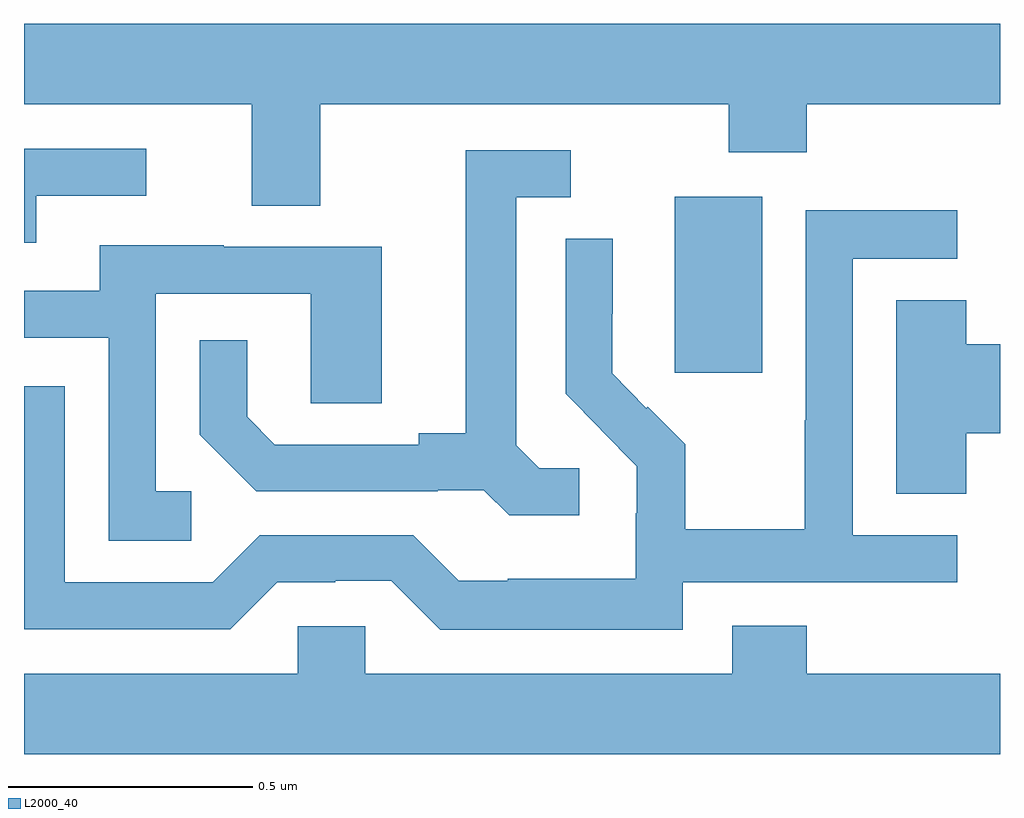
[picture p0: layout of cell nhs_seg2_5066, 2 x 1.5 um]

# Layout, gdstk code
import gdstk
lib = gdstk.Library(unit=1e-6, precision=1e-09)
def R(c, l, rs):  # rectangles x0, y0, x1, y1
    for r in rs: c.add(gdstk.rectangle(r[:2], r[2:], *l))
def P(c, l, *ps):  # polygons
    for p in ps: c.add(gdstk.Polygon(p, *l))
L2000_40 = (2000, 40)

nhs_seg2_5066 = lib.new_cell('nhs_seg2_5066')
R(nhs_seg2_5066, L2000_40, [(175.334,637.761,175.513,638.122)])
P(nhs_seg2_5066, L2000_40, [(174.607,638.312),(175.444,638.312),(175.444,638.213),(175.604,638.213),(175.604,638.312),(176,638.312),(176,638.476),(174,638.476),(174,638.312),(174.467,638.312),(174.467,638.104),(174.607,638.104)],
  [(174.025,638.124),(174.25,638.124),(174.25,638.22),(174,638.22),(174,638.028),(174.025,638.028)],
  [(175.138,637.566),(175.056,637.566),(175.009,637.613),(175.009,638.121),(175.12,638.121),(175.12,638.217),(174.905,638.217),(174.905,637.637),(174.809,637.637),(174.809,637.614),(174.514,637.614),(174.457,637.671),(174.457,637.828),(174.36,637.828),(174.36,637.634),(174.476,637.518),(174.848,637.518),(174.848,637.521),(174.942,637.521),(174.994,637.469),(175.138,637.469)],
  [(175.35,637.332),(175.912,637.332),(175.912,637.428),(175.698,637.428),(175.698,637.995),(175.912,637.995),(175.912,638.094),(175.602,638.094),(175.602,637.664),(175.6,637.664),(175.6,637.441),(175.355,637.441),(175.355,637.615),(175.278,637.692),(175.275,637.689),(175.205,637.76),(175.205,637.882),(175.206,637.882),(175.206,638.036),(175.11,638.036),(175.11,637.718),(175.183,637.645),(175.182,637.644),(175.256,637.57),(175.256,637.473),(175.254,637.473),(175.254,637.339),(174.991,637.339),(174.991,637.335),(174.891,637.335),(174.798,637.428),(174.483,637.428),(174.387,637.332),(174.084,637.332),(174.084,637.734),(174,637.734),(174,637.236),(174.423,637.236),(174.519,637.332),(174.638,637.332),(174.638,637.335),(174.753,637.335),(174.853,637.235),(175.35,637.235)],
  [(174.343,637.518),(174.27,637.518),(174.27,637.923),(174.588,637.923),(174.588,637.699),(174.733,637.699),(174.733,638.019),(174.409,638.019),(174.409,638.023),(174.155,638.023),(174.155,637.929),(174,637.929),(174,637.833),(174.174,637.833),(174.174,637.417),(174.343,637.417)],
  [(175.931,637.637),(176,637.637),(176,637.82),(175.931,637.82),(175.931,637.91),(175.787,637.91),(175.787,637.513),(175.931,637.513)],
  [(176,637.144),(175.604,637.144),(175.604,637.243),(175.451,637.243),(175.451,637.144),(174.699,637.144),(174.699,637.242),(174.561,637.242),(174.561,637.144),(174,637.144),(174,636.98),(176,636.98)])

lib.write_gds('nhs_seg2_5066.gds')
